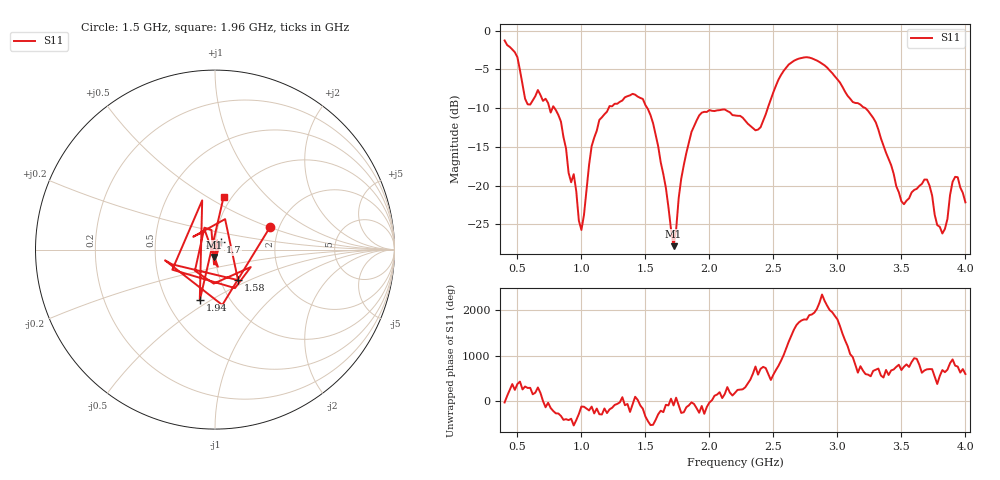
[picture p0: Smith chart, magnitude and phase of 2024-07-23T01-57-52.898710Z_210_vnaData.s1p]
!Created with skrf (http://scikit-rf.org).
# Hz S RI R 50.0
!freq ReS11 ImS11
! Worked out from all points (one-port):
!   181 points, 400 MHz to 4 GHz, reference 50 ohm
!   lowest |S11| = -27.8 dB at 1.72 GHz (marker M1), VSWR 1.08, Z = 49.5 - j4.01 ohm
!   |S11| at or under -10 dB: 789.9 MHz to 1.213 GHz (422.9 MHz wide, 42.2 % of centre); 1.515 GHz to 2.456 GHz (941.2 MHz wide, 47.4 % of centre); 3.218 GHz to end of sweep (the widest 3 of 4)
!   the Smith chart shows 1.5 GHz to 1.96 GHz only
!   S11 on the Smith chart (normalised r, x): 1.5 GHz: 1.79, +0.50; 1.58 GHz: 1.21, -0.43; 1.7 GHz: 1.06, +0.09; 1.94 GHz: 0.73, -0.45; 1.96 GHz: 0.92, +0.59
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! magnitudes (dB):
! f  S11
! 400 MHz  -1.3
! 500 MHz  -3.4
! 580 MHz  -9.5
! 660 MHz  -7.7
! 860 MHz  -13.8
! 1 GHz  -25.7
! 1.08 GHz  -14.9
! 1.14 GHz  -11.5
! 1.3 GHz  -9.2
! 1.5 GHz  -9.6
! 1.58 GHz  -13.4
! 1.7 GHz  -25.7
! 1.72 GHz  -27.8
! 1.76 GHz  -21.6
! 1.86 GHz  -13.1
! 1.94 GHz  -10.6
! 1.96 GHz  -10.5
! 2.2 GHz  -10.9
! 2.38 GHz  -12.8
! 2.66 GHz  -3.9
! 3.1 GHz  -8.8
! 3.28 GHz  -11.3
! 3.5 GHz  -22.0
! 3.56 GHz  -21.7
! 3.7 GHz  -19.2
! 3.82 GHz  -26.2
! 3.92 GHz  -18.9
! 4 GHz  -22.2
